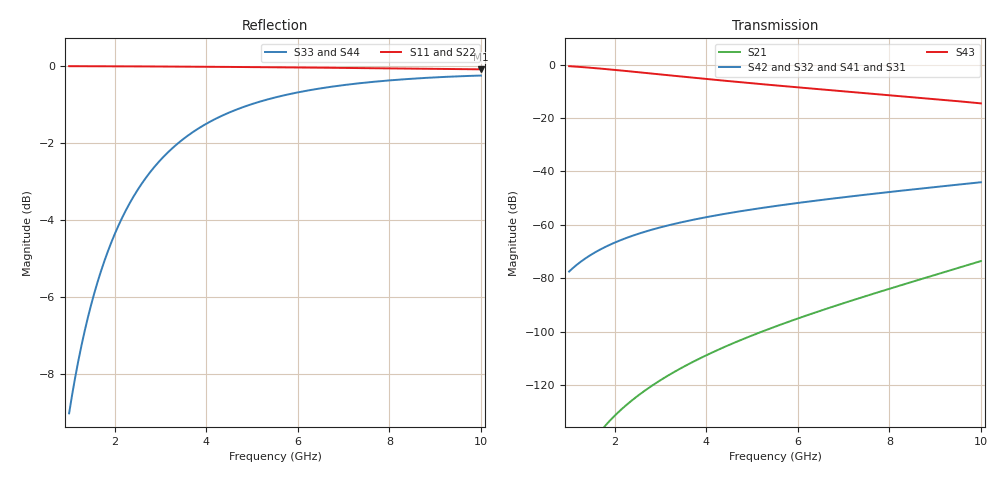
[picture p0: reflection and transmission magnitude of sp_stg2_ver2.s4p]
! Touchstone Ver. 1.0
! Number of ports is 4
# Hz	S	RI	R	50.000000
! SCATTERING PARAMETERS  :
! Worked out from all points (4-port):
!   901 points, 1 GHz to 10 GHz, reference 50 ohm
!   strongest paths, dB at 1 GHz, 3.25 GHz, 5.5 GHz, 7.75 GHz, 10 GHz:
!     S43: -0.6, -4.1, -7.8, -11.1, -14.5
!     S42: -77.5, -59.8, -53.0, -48.2, -44.0
!     S32: -77.5, -59.8, -53.0, -48.2, -44.0
!     S41: -77.5, -59.8, -53.0, -48.2, -44.0
!     S31: -77.5, -59.8, -53.0, -48.2, -44.0
!     S21: -161.4, -115.6, -98.1, -85.3, -73.6
!   lowest |S11| = -0.1 dB at 10 GHz (marker M1), VSWR 208.15, Z = 20.3 - j456 ohm
!   |S11| at or under -10 dB: nowhere
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1e9  0.9996 -0.0222  -7e-09 -4.91e-09  -0.000127 4.26e-05  0.000127 -4.26e-05
     -7e-09 -4.91e-09  0.9996 -0.0222  0.000127 -4.26e-05  -0.000127 4.26e-05
     -0.000127 4.25e-05  0.000127 -4.25e-05  0.1249 0.3306  0.8751 -0.3306
     0.000127 -4.25e-05  -0.000127 4.25e-05  0.8751 -0.3306  0.1249 0.3306
1.47e9  0.9992 -0.0326  6.69e-08 -3.26e-08  -0.000246 0.00012  0.000246 -0.00012
        6.69e-08 -3.26e-08  0.9992 -0.0326  0.000246 -0.00012  -0.000246 0.00012
        -0.000245 0.000119  0.000245 -0.000119  0.2366 0.425  0.7634 -0.425
        0.000245 -0.000119  -0.000245 0.000119  0.7634 -0.425  0.2366 0.425
2.02e9  0.9985 -0.0448  2.43e-07 -1.37e-07  -0.000399 0.000261  0.000399 -0.000261
        2.43e-07 -1.37e-07  0.9985 -0.0448  0.000399 -0.000261  -0.000399 0.000261
        -0.000397 0.000259  0.000397 -0.000259  0.3711 0.483  0.6289 -0.483
        0.000397 -0.000259  -0.000397 0.000259  0.6289 -0.483  0.3711 0.483
3.56e9  0.9954 -0.0787  1.8e-06 -1.5e-06  -0.000802 0.000858  0.000802 -0.000858
        1.8e-06 -1.5e-06  0.9954 -0.0787  0.000802 -0.000858  -0.000802 0.000858
        -0.0008 0.000853  0.0008 -0.000853  0.6554 0.4746  0.3446 -0.4746
        0.0008 -0.000853  -0.0008 0.000853  0.3446 -0.4746  0.6554 0.4746
5.65e9  0.9886 -0.1239  9.44e-06 -1.01e-05  -0.00129 0.00196  0.00129 -0.00196
        9.44e-06 -1.01e-05  0.9886 -0.1239  0.00129 -0.00196  -0.00129 0.00196
        -0.00129 0.00195  0.00129 -0.00195  0.839 0.3648  0.161 -0.3648
        0.00129 -0.00195  -0.00129 0.00195  0.161 -0.3648  0.839 0.3648
8.73e9  0.9743 -0.1883  5.58e-05 -8.1e-05  -0.00203 0.00439  0.00203 -0.00439
        5.58e-05 -8.1e-05  0.9743 -0.1883  0.00203 -0.00439  -0.00203 0.00439
        -0.00204 0.00437  0.00204 -0.00437  0.9375 0.2283  0.0625 -0.2283
        0.00204 -0.00437  -0.00204 0.00437  0.0625 -0.2283  0.9375 0.2283
1e10  0.967 -0.2141  0.000102 -0.000183  -0.0023 0.00585  0.0023 -0.00585
      0.000102 -0.000183  0.967 -0.2141  0.0023 -0.00585  -0.0023 0.00585
      -0.00231 0.00583  0.00231 -0.00583  0.9549 0.1826  0.0451 -0.1826
      0.00231 -0.00583  -0.00231 0.00583  0.0451 -0.1826  0.9549 0.1826
